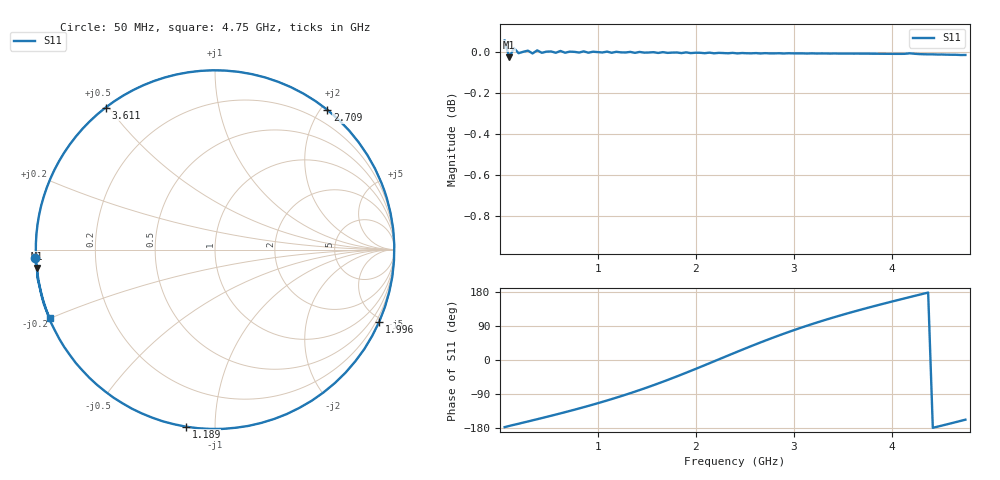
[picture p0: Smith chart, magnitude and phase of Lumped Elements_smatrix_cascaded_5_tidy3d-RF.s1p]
! Created with skrf (http://scikit-rf.org).
# Hz S RI R 50.0
!freq ReS11 ImS11
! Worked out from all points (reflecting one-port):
!   101 points, 50 MHz to 4.75 GHz, reference 50 ohm
!   lowest |S11| = 0.0 dB at 97.47 MHz (marker M1), VSWR 627.38, Z = 0.0799 - j2.61 ohm
!   phase of S11 starts at -177 deg and turns +380 deg over the sweep
!   S11 on the Smith chart (normalised r, x): 50 MHz: -0.00, -0.02; 1.189 GHz: 0.00, -0.85; 1.996 GHz: 0.01, -4.76; 2.709 GHz: 0.00, +2.09; 3.611 GHz: 0.00, +0.49; 4.75 GHz: 0.00, -0.20
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5e7  -1.005 -0.0493
9.747475e7  -0.9914 -0.1038
3.823232e8  -0.9158 -0.4032
6.671717e8  -0.7389 -0.6728
9.520202e8  -0.4634 -0.8861
1.189394e9  -0.1624 -0.9866
1.236869e9  -0.0962 -0.9949
1.426768e9  0.1852 -0.9825
1.569192e9  0.4002 -0.9161
1.711616e9  0.6045 -0.7956
1.85404e9  0.782 -0.6219
1.996465e9  0.915 -0.4019
2.091414e9  0.9708 -0.236
2.186364e9  0.9971 -0.0614
2.281313e9  0.9924 0.1158
2.4e9  0.9427 0.3309
2.566162e9  0.8005 0.5977
2.708586e9  0.6266 0.7782
2.85101e9  0.4227 0.9052
2.993434e9  0.2058 0.9775
3.135859e9  -0.0101 0.9988
3.278283e9  -0.214 0.9757
3.420707e9  -0.399 0.9158
3.610606e9  -0.6094 0.7914
3.895455e9  -0.8402 0.54
4.180303e9  -0.9686 0.2444
4.465152e9  -0.9959 -0.0703
4.75e9  -0.922 -0.3821
